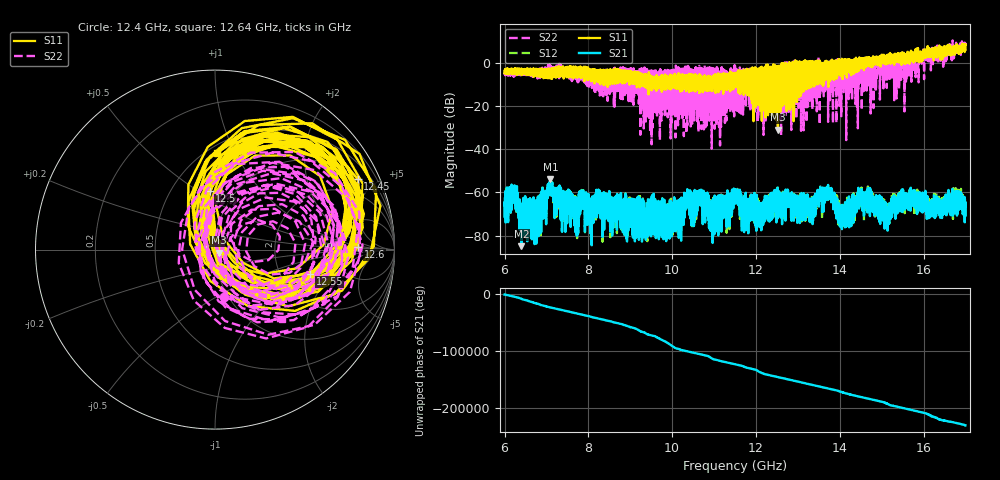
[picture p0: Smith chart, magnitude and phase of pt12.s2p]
#  HZ  S  RI  R  50.00
! Rohde & Schwarz Vector Network Analyzer
! Rohde-Schwarz,ZNA67-2Port,1332450062101215,3.01
! Created: UTC 10/26/2026, 4:38:08 PM
! freq[Hz]  re:S11  im:S11  re:S21  im:S21  re:S12  im:S12  re:S22  im:S22
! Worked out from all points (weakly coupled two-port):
!   11001 points, 6 GHz to 17 GHz, reference 50 ohm
!   highest |S21| = -53.89 dB at 7.094 GHz (marker M1); lowest = -84.8 dB at 6.4 GHz (marker M2)
!   lowest |S11| = -31.0 dB at 12.53 GHz (marker M3), VSWR 1.06, Z = 52.2 - j1.88 ohm
!   |S11| at or under -10 dB: 9.505839 GHz to 9.51015 GHz (4.311 MHz wide, 0.0453 % of centre); 9.609778 GHz to 9.614148 GHz (4.37 MHz wide, 0.0455 % of centre); 10.81985 GHz to 10.82502 GHz (5.169 MHz wide, 0.0478 % of centre) (the widest 3 of 356)
!   |S22| runs from -39.8 to 10.2 dB; largest |S21 - S12| = 0.0013
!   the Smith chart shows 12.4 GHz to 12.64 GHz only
!   S11 on the Smith chart (normalised r, x): 12.4 GHz: 0.66, +1.83; 12.45 GHz: 1.10, +4.01; 12.5 GHz: 0.77, +0.56; 12.55 GHz: 2.93, -1.13; 12.6 GHz: 8.82, +0.70; 12.64 GHz: 0.56, +0.85
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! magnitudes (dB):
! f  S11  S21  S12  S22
! 6 GHz  -4.7  -65.6  -65.4  -4.8
! 6.204 GHz  -3.4  -63.6  -63.6  -4.3
! 6.4 GHz  -2.8  -84.8  -82.0  -5.2
! 6.767 GHz  -6.1  -69.6  -69.2  -3.9
! 7.094 GHz  -7.4  -53.9  -53.7  -3.5
! 7.834 GHz  -2.4  -63.8  -63.6  -4.9
! 9.667 GHz  -7.2  -70.9  -71.5  -5.7
! 11.5 GHz  -9.0  -64.3  -64.3  -1.7
! 12.13 GHz  -8.2  -74.7  -73.0  -9.9
! 12.4 GHz  -2.5  -65.3  -65.8  -11.4
! 12.45 GHz  -1.0  -66.1  -65.4  -9.4
! 12.5 GHz  -9.7  -64.7  -63.0  -4.5
! 12.53 GHz  -31.0  -63.0  -61.6  -3.6
! 12.55 GHz  -5.2  -62.2  -62.0  -11.6
! 12.6 GHz  -2.0  -64.4  -63.9  -9.2
! 12.64 GHz  -5.4  -63.9  -65.0  -5.4
! 13.33 GHz  -0.6  -62.8  -62.1  -10.2
! 13.69 GHz  -6.9  -62.8  -62.7  -0.4
! 14.05 GHz  1.8  -72.3  -71.2  -7.8
! 14.68 GHz  -0.6  -62.7  -63.0  -0.3
! 15.17 GHz  3.1  -73.5  -69.7  -0.6
! 17 GHz  8.2  -64.8  -65.3  8.5
